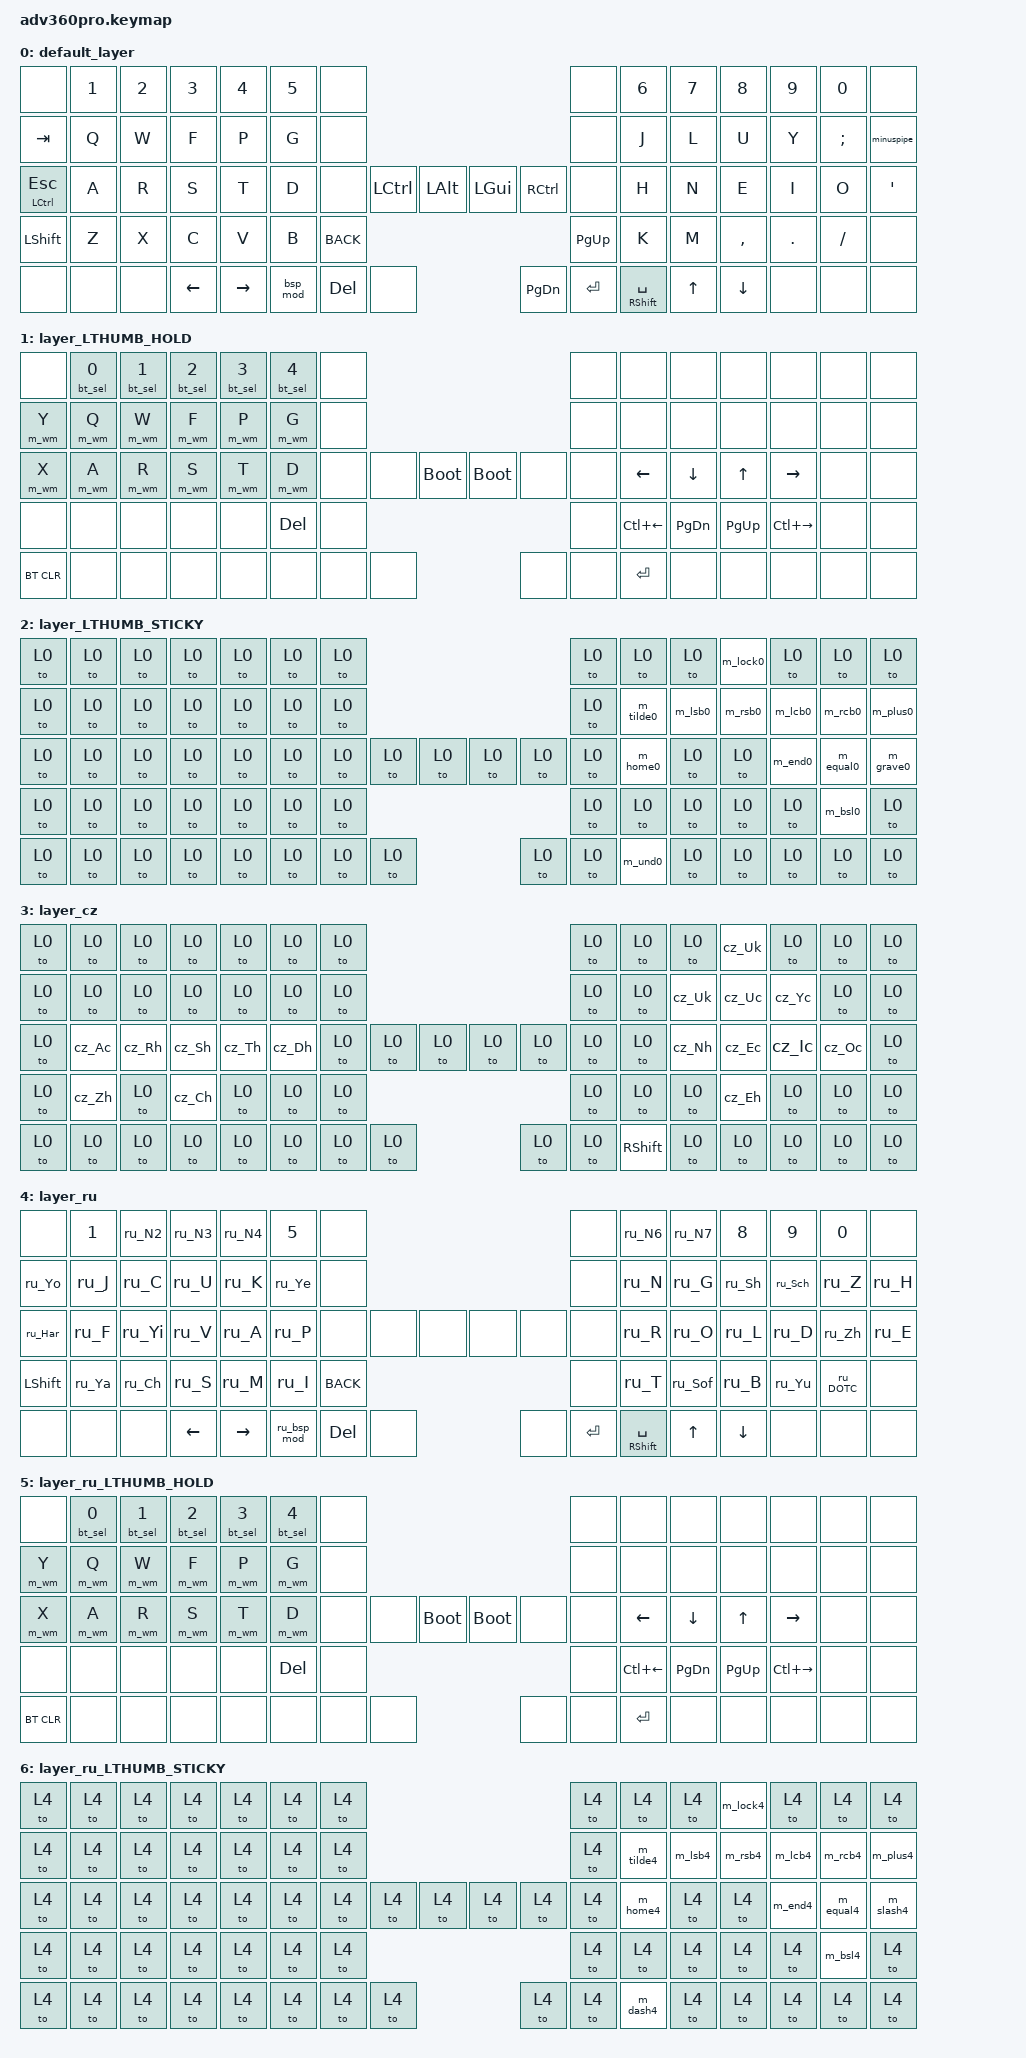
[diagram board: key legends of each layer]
/*
 * Copyright (c) 2020 The ZMK Contributors
 *
 * SPDX-License-Identifier: MIT
 */

#include <behaviors.dtsi>
#include <dt-bindings/zmk/keys.h>
#include <dt-bindings/zmk/bt.h>

/ {
    behaviors {
        #include "macros.dtsi"
        #include "custom.dtsi"
        #include "cz.dtsi"
        #include "ru.dtsi"
    };
    keymap {
        compatible = "zmk,keymap";

        default_layer {  // 0
            bindings = <
// ╭──────────┬──────────┬──────────┬──────────┬──────────┬──────────┬──────────╮                                            ╭──────────┬──────────┬──────────┬──────────┬──────────┬──────────┬──────────╮
      &none     &kp N1      &kp N2     &kp N3     &kp N4     &kp N5     &none                                                    &none     &kp N6     &kp N7     &kp N8     &kp N9     &kp N0      &none
// ├──────────┼──────────┼──────────┼──────────┼──────────┼──────────┼──────────┤                                            ├──────────┼──────────┼──────────┼──────────┼──────────┼──────────┼──────────┤
     &kp TAB     &kp Q      &kp W      &kp F      &kp P      &kp G      &none                                                    &none      &kp J      &kp L      &kp U      &kp Y    &kp SEMI  &minuspipe
// ├──────────┼──────────┼──────────┼──────────┼──────────┼──────────┼──────────┤╭─────────┬──────────╮ ╭─────────┬─────────╮├──────────┼──────────┼──────────┼──────────┼──────────┼──────────┼──────────┤
 &mt LCTRL ESC   &kp A      &kp R      &kp S      &kp T      &kp D      &none     &kp LCTRL  &kp LALT     &kp LGUI &kp RCTRL     &none      &kp H      &kp N      &kp E      &kp I      &kp O     &kp SQT
// ├──────────┼──────────┼──────────┼──────────┼──────────┼──────────┼──────────╯├─────────┼──────────┤ ├─────────┼─────────┤╰──────────┼──────────┼──────────┼──────────┼──────────┼──────────┼──────────┤
     &kp LSHFT   &kp Z      &kp X      &kp C      &kp V      &kp B                          &kp K_BACK   &kp PG_UP                          &kp K      &kp M    &kp COMMA   &kp DOT   &kp FSLH     &none
// ├──────────┼──────────┼──────────┼──────────┼──────────┼──────────╯╭──────────┤         ├──────────┤ ├─────────┤         ├──────────╮╰──────────┼──────────┼──────────┼──────────┼──────────┼──────────┤
      &none      &none      &none     &kp LEFT  &kp RIGHT               &bsp_mod   &kp DEL     &none     &kp PG_DN &kp ENTER &mt RSHIFT SPACE         &kp UP    &kp DOWN    &none      &none       &none
// ╰──────────┴──────────┴──────────┴──────────┴──────────╯           ╰──────────┴─────────┴──────────╯ ╰-────────┴─────────┴-─────────╯           ╰──────────┴──────────┴──────────┴──────────┴──────────╯
            >;
        };

        layer_LTHUMB_HOLD {  // 1
            bindings = <
// ╭──────────┬──────────┬──────────┬──────────┬──────────┬──────────┬──────────╮                                            ╭──────────┬──────────┬──────────┬──────────┬──────────┬──────────┬──────────╮
      &none    &bt_sel 0  &bt_sel 1  &bt_sel 2  &bt_sel 3  &bt_sel 4    &none                                                    &none      &none      &none      &none      &none      &none      &none
// ├──────────┼──────────┼──────────┼──────────┼──────────┼──────────┼──────────┤                                            ├──────────┼──────────┼──────────┼──────────┼──────────┼──────────┼──────────┤
     &m_wm Y    &m_wm Q    &m_wm W    &m_wm F    &m_wm P    &m_wm G     &none                                                    &none      &none      &none      &none      &none      &none      &none
// ├──────────┼──────────┼──────────┼──────────┼──────────┼──────────┼──────────┤╭─────────┬──────────╮ ╭─────────┬─────────╮├──────────┼──────────┼──────────┼──────────┼──────────┼──────────┼──────────┤
     &m_wm X    &m_wm A    &m_wm R    &m_wm S    &m_wm T    &m_wm D     &none       &none  &bootloader  &bootloader  &none       &none    &kp LEFT   &kp DOWN    &kp UP    &kp RIGHT    &none      &none
// ├──────────┼──────────┼──────────┼──────────┼──────────┼──────────┼──────────╯├─────────┼──────────┤ ├─────────┼─────────┤╰──────────┼──────────┼──────────┼──────────┼──────────┼──────────┼──────────┤
      &none      &none      &none      &none      &none    &kp DELETE                         &none        &none                        &kp LC(LEFT) &kp PG_DN &kp PG_UP &kp LC(RIGHT)  &none      &none
// ├──────────┼──────────┼──────────┼──────────┼──────────┼──────────╯╭──────────┤         ├──────────┤ ├─────────┤         ├──────────╮╰──────────┼──────────┼──────────┼──────────┼──────────┼──────────┤
    &bt BT_CLR   &none      &none      &none      &none                 &none       &none     &none        &none     &none    &kp ENTER                &none      &none      &none      &none      &none
// ╰──────────┴──────────┴──────────┴──────────┴──────────╯           ╰──────────┴─────────┴──────────╯ ╰-────────┴─────────┴-─────────╯           ╰──────────┴──────────┴──────────┴──────────┴──────────╯
            >;
        };

        layer_LTHUMB_STICKY {  // 2
            bindings = <
// ╭──────────┬──────────┬──────────┬──────────┬──────────┬──────────┬──────────╮                                            ╭──────────┬──────────┬──────────┬──────────┬──────────┬──────────┬──────────╮
      &to 0      &to 0      &to 0      &to 0      &to 0      &to 0      &to 0                                                    &to 0      &to 0      &to 0    &m_lock0     &to 0      &to 0      &to 0
// ├──────────┼──────────┼──────────┼──────────┼──────────┼──────────┼──────────┤                                            ├──────────┼──────────┼──────────┼──────────┼──────────┼──────────┼──────────┤
      &to 0      &to 0      &to 0      &to 0      &to 0      &to 0      &to 0                                                    &to 0    &m_tilde0   &m_lsb0    &m_rsb0    &m_lcb0    &m_rcb0   &m_plus0
// ├──────────┼──────────┼──────────┼──────────┼──────────┼──────────┼──────────┤╭─────────┬──────────╮ ╭─────────┬─────────╮├──────────┼──────────┼──────────┼──────────┼──────────┼──────────┼──────────┤
      &to 0      &to 0      &to 0      &to 0      &to 0      &to 0      &to 0       &to 0     &to 0        &to 0     &to 0       &to 0    &m_home0     &to 0      &to 0     &m_end0   &m_equal0  &m_grave0
// ├──────────┼──────────┼──────────┼──────────┼──────────┼──────────┼──────────╯├─────────┼──────────┤ ├─────────┼─────────┤╰──────────┼──────────┼──────────┼──────────┼──────────┼──────────┼──────────┤
      &to 0      &to 0      &to 0      &to 0      &to 0      &to 0                            &to 0        &to 0                            &to 0      &to 0      &to 0      &to 0     &m_bsl0     &to 0
// ├──────────┼──────────┼──────────┼──────────┼──────────┼──────────╯╭──────────┤         ├──────────┤ ├─────────┤         ├──────────╮╰──────────┼──────────┼──────────┼──────────┼──────────┼──────────┤
      &to 0      &to 0      &to 0      &to 0      &to 0                  &to 0      &to 0     &to 0        &to 0     &to 0     &m_und0                 &to 0      &to 0      &to 0      &to 0      &to 0
// ╰──────────┴──────────┴──────────┴──────────┴──────────╯           ╰──────────┴─────────┴──────────╯ ╰-────────┴─────────┴-─────────╯           ╰──────────┴──────────┴──────────┴──────────┴──────────╯
            >;
        };

        layer_cz {  // 3
            bindings = <
// ╭──────────┬──────────┬──────────┬──────────┬──────────┬──────────┬──────────╮                                            ╭──────────┬──────────┬──────────┬──────────┬──────────┬──────────┬──────────╮
      &to 0      &to 0      &to 0      &to 0      &to 0      &to 0      &to 0                                                    &to 0      &to 0      &to 0     &cz_Uk      &to 0      &to 0      &to 0
// ├──────────┼──────────┼──────────┼──────────┼──────────┼──────────┼──────────┤                                            ├──────────┼──────────┼──────────┼──────────┼──────────┼──────────┼──────────┤
      &to 0      &to 0      &to 0      &to 0      &to 0      &to 0      &to 0                                                    &to 0      &to 0     &cz_Uk     &cz_Uc     &cz_Yc      &to 0      &to 0
// ├──────────┼──────────┼──────────┼──────────┼──────────┼──────────┼──────────┤╭─────────┬──────────╮ ╭─────────┬─────────╮├──────────┼──────────┼──────────┼──────────┼──────────┼──────────┼──────────┤
      &to 0      &cz_Ac     &cz_Rh     &cz_Sh     &cz_Th     &cz_Dh     &to 0       &to 0     &to 0        &to 0     &to 0       &to 0      &to 0     &cz_Nh     &cz_Ec     &cz_Ic     &cz_Oc      &to 0
// ├──────────┼──────────┼──────────┼──────────┼──────────┼──────────┼──────────╯├─────────┼──────────┤ ├─────────┼─────────┤╰──────────┼──────────┼──────────┼──────────┼──────────┼──────────┼──────────┤
      &to 0      &cz_Zh     &to 0      &cz_Ch     &to 0      &to 0                            &to 0        &to 0                            &to 0      &to 0     &cz_Eh      &to 0      &to 0      &to 0
// ├──────────┼──────────┼──────────┼──────────┼──────────┼──────────╯╭──────────┤         ├──────────┤ ├─────────┤         ├──────────╮╰──────────┼──────────┼──────────┼──────────┼──────────┼──────────┤
      &to 0      &to 0      &to 0      &to 0      &to 0                  &to 0      &to 0     &to 0        &to 0     &to 0   &kp RSHIFT                &to 0      &to 0      &to 0      &to 0      &to 0
// ╰──────────┴──────────┴──────────┴──────────┴──────────╯           ╰──────────┴─────────┴──────────╯ ╰-────────┴─────────┴-─────────╯           ╰──────────┴──────────┴──────────┴──────────┴──────────╯
            >;
        };

        layer_ru {  // 4
            bindings = <
// ╭──────────┬──────────┬──────────┬──────────┬──────────┬──────────┬──────────╮                                            ╭──────────┬──────────┬──────────┬──────────┬──────────┬──────────┬──────────╮
      &none      &kp N1     &ru_N2     &ru_N3     &ru_N4     &kp N5     &none                                                    &none     &ru_N6     &ru_N7     &kp N8     &kp N9     &kp N0      &none
// ├──────────┼──────────┼──────────┼──────────┼──────────┼──────────┼──────────┤                                            ├──────────┼──────────┼──────────┼──────────┼──────────┼──────────┼──────────┤
      &ru_Yo     &ru_J      &ru_C      &ru_U      &ru_K      &ru_Ye     &none                                                    &none      &ru_N      &ru_G     &ru_Sh     &ru_Sch     &ru_Z      &ru_H
// ├──────────┼──────────┼──────────┼──────────┼──────────┼──────────┼──────────┤╭─────────┬──────────╮ ╭─────────┬─────────╮├──────────┼──────────┼──────────┼──────────┼──────────┼──────────┼──────────┤
     &ru_Har     &ru_F      &ru_Yi     &ru_V      &ru_A      &ru_P      &none       &none     &none        &none     &none       &none      &ru_R      &ru_O      &ru_L      &ru_D     &ru_Zh      &ru_E
// ├──────────┼──────────┼──────────┼──────────┼──────────┼──────────┼──────────╯├─────────┼──────────┤ ├─────────┼─────────┤╰──────────┼──────────┼──────────┼──────────┼──────────┼──────────┼──────────┤
    &kp LSHFT    &ru_Ya     &ru_Ch     &ru_S      &ru_M      &ru_I                          &kp K_BACK     &none                            &ru_T     &ru_Sof     &ru_B     &ru_Yu    &ru_DOTC     &none
// ├──────────┼──────────┼──────────┼──────────┼──────────┼──────────╯╭──────────┤         ├──────────┤ ├─────────┤         ├──────────╮╰──────────┼──────────┼──────────┼──────────┼──────────┼──────────┤
      &none      &none      &none     &kp LEFT  &kp RIGHT             &ru_bsp_mod  &kp DEL     &none       &none   &kp ENTER &mt RSHIFT SPACE         &kp UP    &kp DOWN    &none      &none       &none
// ╰──────────┴──────────┴──────────┴──────────┴──────────╯           ╰──────────┴─────────┴──────────╯ ╰-────────┴─────────┴-─────────╯           ╰──────────┴──────────┴──────────┴──────────┴──────────╯
            >;
        };

        layer_ru_LTHUMB_HOLD {  // 5
            bindings = <
// ╭──────────┬──────────┬──────────┬──────────┬──────────┬──────────┬──────────╮                                            ╭──────────┬──────────┬──────────┬──────────┬──────────┬──────────┬──────────╮
      &none    &bt_sel 0  &bt_sel 1  &bt_sel 2  &bt_sel 3  &bt_sel 4    &none                                                    &none      &none      &none      &none      &none      &none      &none
// ├──────────┼──────────┼──────────┼──────────┼──────────┼──────────┼──────────┤                                            ├──────────┼──────────┼──────────┼──────────┼──────────┼──────────┼──────────┤
     &m_wm Y    &m_wm Q    &m_wm W    &m_wm F    &m_wm P    &m_wm G     &none                                                    &none      &none      &none      &none      &none      &none      &none
// ├──────────┼──────────┼──────────┼──────────┼──────────┼──────────┼──────────┤╭─────────┬──────────╮ ╭─────────┬─────────╮├──────────┼──────────┼──────────┼──────────┼──────────┼──────────┼──────────┤
     &m_wm X    &m_wm A    &m_wm R    &m_wm S    &m_wm T    &m_wm D     &none       &none  &bootloader  &bootloader  &none       &none    &kp LEFT   &kp DOWN    &kp UP    &kp RIGHT    &none      &none
// ├──────────┼──────────┼──────────┼──────────┼──────────┼──────────┼──────────╯├─────────┼──────────┤ ├─────────┼─────────┤╰──────────┼──────────┼──────────┼──────────┼──────────┼──────────┼──────────┤
      &none      &none      &none      &none      &none    &kp DELETE                         &none        &none                        &kp LC(LEFT) &kp PG_DN &kp PG_UP &kp LC(RIGHT)  &none      &none
// ├──────────┼──────────┼──────────┼──────────┼──────────┼──────────╯╭──────────┤         ├──────────┤ ├─────────┤         ├──────────╮╰──────────┼──────────┼──────────┼──────────┼──────────┼──────────┤
    &bt BT_CLR   &none      &none      &none      &none                 &none       &none     &none        &none     &none    &kp ENTER                &none      &none      &none      &none      &none
// ╰──────────┴──────────┴──────────┴──────────┴──────────╯           ╰──────────┴─────────┴──────────╯ ╰-────────┴─────────┴-─────────╯           ╰──────────┴──────────┴──────────┴──────────┴──────────╯
            >;
        };

        layer_ru_LTHUMB_STICKY {  // 6
            bindings = <
// ╭──────────┬──────────┬──────────┬──────────┬──────────┬──────────┬──────────╮                                            ╭──────────┬──────────┬──────────┬──────────┬──────────┬──────────┬──────────╮
      &to 4      &to 4      &to 4      &to 4      &to 4      &to 4      &to 4                                                    &to 4      &to 4      &to 4    &m_lock4     &to 4      &to 4      &to 4
// ├──────────┼──────────┼──────────┼──────────┼──────────┼──────────┼──────────┤                                            ├──────────┼──────────┼──────────┼──────────┼──────────┼──────────┼──────────┤
      &to 4      &to 4      &to 4      &to 4      &to 4      &to 4      &to 4                                                    &to 4    &m_tilde4   &m_lsb4    &m_rsb4    &m_lcb4    &m_rcb4   &m_plus4
// ├──────────┼──────────┼──────────┼──────────┼──────────┼──────────┼──────────┤╭─────────┬──────────╮ ╭─────────┬─────────╮├──────────┼──────────┼──────────┼──────────┼──────────┼──────────┼──────────┤
      &to 4      &to 4      &to 4      &to 4      &to 4      &to 4      &to 4       &to 4     &to 4        &to 4     &to 4       &to 4    &m_home4     &to 4      &to 4     &m_end4   &m_equal4  &m_slash4
// ├──────────┼──────────┼──────────┼──────────┼──────────┼──────────┼──────────╯├─────────┼──────────┤ ├─────────┼─────────┤╰──────────┼──────────┼──────────┼──────────┼──────────┼──────────┼──────────┤
      &to 4      &to 4      &to 4      &to 4      &to 4      &to 4                            &to 4        &to 4                            &to 4      &to 4      &to 4      &to 4     &m_bsl4     &to 4
// ├──────────┼──────────┼──────────┼──────────┼──────────┼──────────╯╭──────────┤         ├──────────┤ ├─────────┤         ├──────────╮╰──────────┼──────────┼──────────┼──────────┼──────────┼──────────┤
      &to 4      &to 4      &to 4      &to 4      &to 4                  &to 4      &to 4     &to 4        &to 4     &to 4    &m_dash4                 &to 4      &to 4      &to 4      &to 4      &to 4
// ╰──────────┴──────────┴──────────┴──────────┴──────────╯           ╰──────────┴─────────┴──────────╯ ╰-────────┴─────────┴-─────────╯           ╰──────────┴──────────┴──────────┴──────────┴──────────╯
            >;
        };
    };
};
